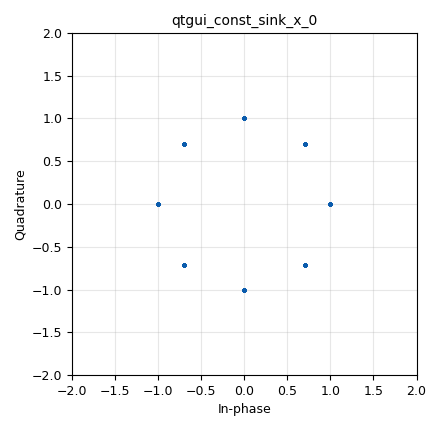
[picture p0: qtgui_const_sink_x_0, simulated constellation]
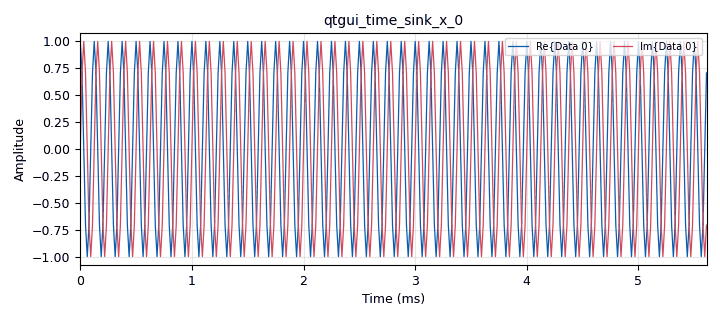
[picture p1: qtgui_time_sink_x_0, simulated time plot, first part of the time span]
options:
  parameters:
    generate_options: qt_gui
    id: flujograma
    output_language: python
    title: Not titled yet
  states: {}

blocks:
- name: M
  id: variable
  parameters:
    value: len(tabla_de_verdad_constelacion)
  states: {}
- name: RS
  id: variable
  parameters:
    value: '64000'
  states: {}
- name: bps
  id: variable
  parameters:
    value: math.log(M, 2)
  states: {}
- name: tabla_de_verdad_constelacion
  id: variable
  parameters:
    value: (1+0j, 0.707+0.707j, 0+1j, -0.707+0.707j, -1+0j, -0.707-0.707j, 0-1j, 0.707-0.707j)
  states: {}
- name: blocks_vector_source_x_0
  id: blocks_vector_source_x
  parameters:
    repeat: 'True'
    type: int
    vector: (0, 1, 2, 3, 4, 5, 6, 7)
  states: {}
- name: digital_chunks_to_symbols_xx_0
  id: digital_chunks_to_symbols_xx
  parameters:
    dimension: '1'
    in_type: int
    out_type: complex
    symbol_table: tabla_de_verdad_constelacion
  states: {}
- name: import_0
  id: import
  parameters:
    imports: import math
  states: {}
- name: qtgui_const_sink_x_0
  id: qtgui_const_sink_x
  parameters:
    size: '1024'
    type: complex
  states: {}
- name: qtgui_time_sink_x_0
  id: qtgui_time_sink_x
  parameters:
    size: '1024'
    srate: RS
    type: complex
  states: {}

connections:
- [blocks_vector_source_x_0, '0', digital_chunks_to_symbols_xx_0, '0']
- [digital_chunks_to_symbols_xx_0, '0', qtgui_const_sink_x_0, '0']
- [digital_chunks_to_symbols_xx_0, '0', qtgui_time_sink_x_0, '0']

metadata:
  file_format: 1
  grc_version: 3.10.5.1
